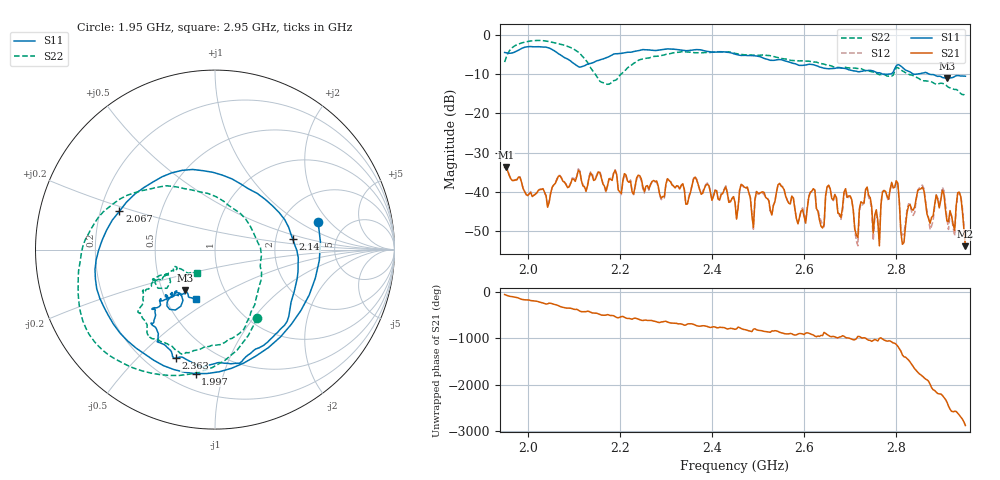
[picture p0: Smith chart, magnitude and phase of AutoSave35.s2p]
!Agilent N9923A: A.07.32
!Date: Thursday, 02 June 2016 23:09:56
!Model: N9923A
!Serial: MY52412257
!GPS Latitude:
!GPS Longitude:
!GPS TimeStamp: 0001-01-01 00:00:00Z
!GPS Seconds Since Last Read: 0
!CHECKSUM:1932435674
!Correction: S11(ON U)S21(ON U)S12(ON U)S22(ON U)
!S2P File: Measurements:S11,S21,S12,S22:
# Hz S DB R 50
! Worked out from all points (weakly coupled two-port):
!   301 points, 1.95 GHz to 2.95 GHz, reference 50 ohm
!   highest |S21| = -33.74 dB at 1.953 GHz (marker M1); lowest = -53.8 dB at 2.95 GHz (marker M2)
!   lowest |S11| = -11.0 dB at 2.91 GHz (marker M3), VSWR 1.78, Z = 32.7 - j16.1 ohm
!   |S11| at or under -10 dB: 2.77 GHz to 2.785 GHz (15.26 MHz wide, 0.549 % of centre); 2.836624 GHz to 2.845589 GHz (8.965 MHz wide, 0.316 % of centre); 2.871 GHz to end of sweep
!   |S22| runs from -15.6 to -1.5 dB; largest |S21 - S12| = 0.0012
!   S11 on the Smith chart (normalised r, x): 1.95 GHz: 3.17, +1.49; 1.997 GHz: 0.30, -0.81; 2.067 GHz: 0.28, +0.18; 2.14 GHz: 2.50, +0.35; 2.363 GHz: 0.32, -0.65; 2.95 GHz: 0.70, -0.43
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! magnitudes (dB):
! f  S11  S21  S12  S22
! 1.95 GHz  -4.5  -33.7  -33.6  -7.0
! 1.953 GHz  -4.6  -33.7  -33.5  -5.8
! 1.997 GHz  -3.1  -40.6  -40.7  -1.8
! 2.067 GHz  -4.8  -36.0  -35.8  -2.3
! 2.12 GHz  -8.0  -38.5  -38.2  -5.6
! 2.14 GHz  -7.2  -35.8  -35.3  -9.0
! 2.287 GHz  -3.9  -40.7  -41.0  -5.3
! 2.363 GHz  -3.8  -36.2  -36.0  -4.6
! 2.453 GHz  -5.0  -46.9  -46.7  -4.8
! 2.62 GHz  -7.6  -39.2  -39.2  -7.0
! 2.64 GHz  -8.4  -49.1  -48.3  -7.4
! 2.69 GHz  -8.6  -39.2  -39.5  -8.3
! 2.717 GHz  -9.4  -51.5  -53.7  -8.6
! 2.737 GHz  -9.1  -38.7  -39.0  -9.2
! 2.763 GHz  -9.7  -53.7  -51.9  -10.2
! 2.783 GHz  -10.0  -41.8  -42.3  -10.6
! 2.803 GHz  -7.6  -37.8  -38.1  -8.4
! 2.813 GHz  -8.3  -53.3  -50.9  -9.2
! 2.857 GHz  -9.8  -38.8  -38.2  -11.7
! 2.91 GHz  -11.0  -47.4  -46.8  -13.1
! 2.937 GHz  -10.4  -40.0  -40.1  -14.5
! 2.95 GHz  -10.5  -53.8  -53.4  -15.6
